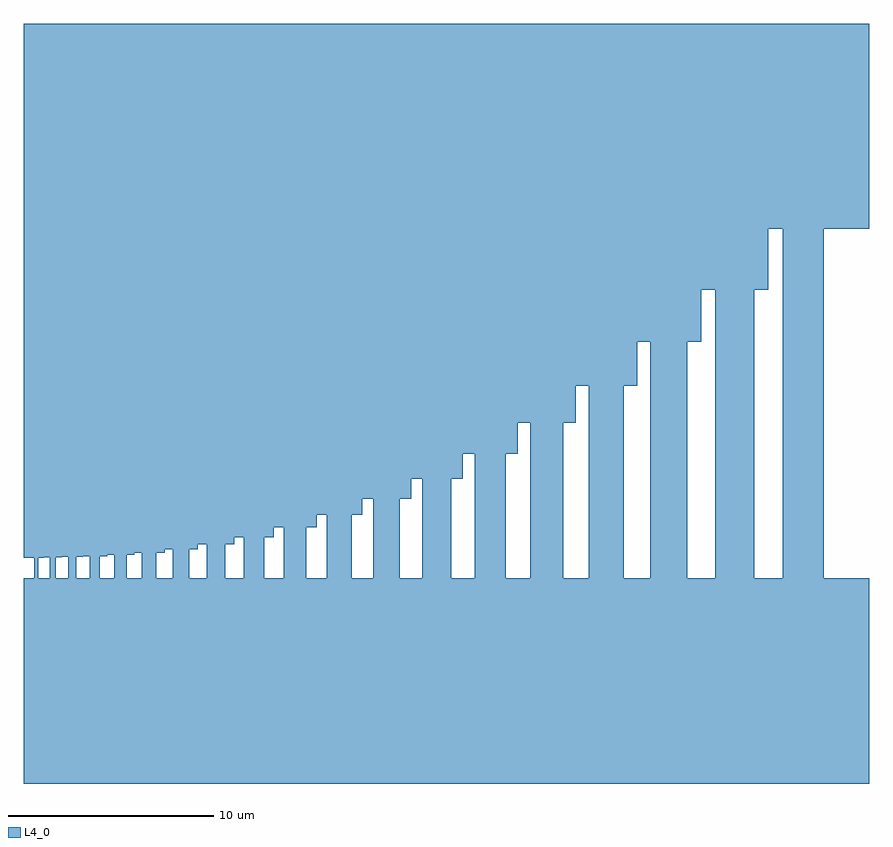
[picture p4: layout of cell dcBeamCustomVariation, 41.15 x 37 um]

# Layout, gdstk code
import gdstk
lib = gdstk.Library(unit=1e-6, precision=1e-09)
def R(c, l, rs):  # rectangles x0, y0, x1, y1
    for r in rs: c.add(gdstk.rectangle(r[:2], r[2:], *l))
def P(c, l, *ps):  # polygons
    for p in ps: c.add(gdstk.Polygon(p, *l))
L4_0 = (4, 0)

dcbeamcustomvariation = lib.new_cell('dcBeamCustomVariation')
R(dcbeamcustomvariation, L4_0, [(0,0,41.15,10), (0.5,10,0.7,11.002), (1.25,10,1.55,11.008), (2.15,10,2.55,11.026), (3.2,10,3.7,11.063), (4.4,10,5,11.13), (5.75,10,6.45,11.24), (7.25,10,8.05,11.41), (8.9,10,9.8,11.656), (10.7,10,11.7,12), (12.65,10,13.75,12.464), (14.75,10,15.95,13.074), (17,10,18.3,13.856), (19.4,10,20.8,14.842), (21.95,10,23.45,16.063), (24.65,10,26.25,17.554), (27.5,10,29.2,19.352), (30.5,10,32.3,21.498), (33.65,10,35.55,24.032), (36.95,10,38.95,27)])
P(dcbeamcustomvariation, L4_0, [(0,11.002),(0,37),(41.15,37),(41.15,27),(36.25,27),(36.25,24.032),(32.975,24.032),(32.975,21.498),(29.85,21.498),(29.85,19.352),(26.875,19.352),(26.875,17.554),(24.05,17.554),(24.05,16.063),(21.375,16.063),(21.375,14.842),(18.85,14.842),(18.85,13.856),(16.475,13.856),(16.475,13.074),(14.25,13.074),(14.25,12.464),(12.175,12.464),(12.175,12),(10.25,12),(10.25,11.656),(8.475,11.656),(8.475,11.41),(6.85,11.41),(6.85,11.24),(5.375,11.24),(5.375,11.13),(4.05,11.13),(4.05,11.063),(2.875,11.063),(2.875,11.026),(1.85,11.026),(1.85,11.008),(0.975,11.008),(0.975,11.002)])

lib.write_gds('dcBeamCustomVariation.gds')
